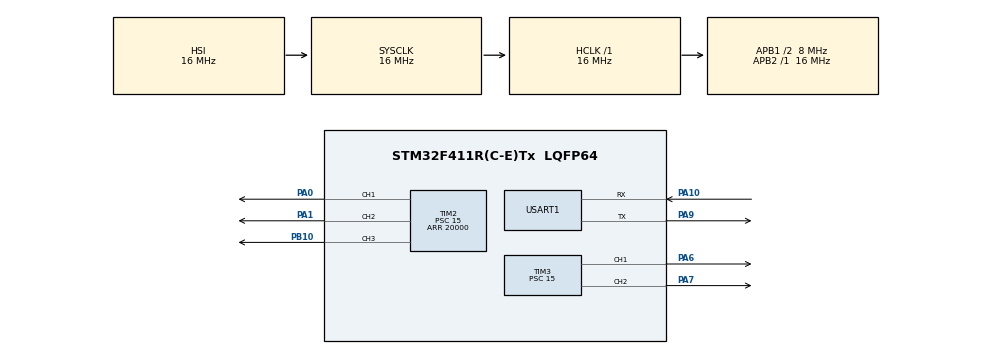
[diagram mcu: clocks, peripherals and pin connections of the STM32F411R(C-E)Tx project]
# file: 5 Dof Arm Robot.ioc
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Mcu.Family=STM32F4
Mcu.Name=STM32F411R(C-E)Tx
Mcu.Package=LQFP64
NVIC.PriorityGroup=NVIC_PRIORITYGROUP_0
NVIC.USART1_IRQn=true\:0\:0\:false\:false\:true\:true\:true\:true
PA0-WKUP.Signal=S_TIM2_CH1_ETR
PA1.Signal=S_TIM2_CH2
PA10.Mode=Asynchronous
PA10.Signal=USART1_RX
PA6.Signal=S_TIM3_CH1
PA7.Signal=S_TIM3_CH2
PA9.Mode=Asynchronous
PA9.Signal=USART1_TX
PB10.Signal=S_TIM2_CH3
ProjectManager.HeapSize=0x200
ProjectManager.StackSize=0x400
ProjectManager.TargetToolchain=STM32CubeIDE
RCC.48MHZClocksFreq_Value=84000000
RCC.AHBFreq_Value=16000000
RCC.APB1CLKDivider=RCC_HCLK_DIV2
RCC.APB1Freq_Value=8000000
RCC.APB1TimFreq_Value=16000000
RCC.APB2Freq_Value=16000000
RCC.APB2TimFreq_Value=16000000
RCC.CortexFreq_Value=16000000
RCC.FLatency-AdvancedSettings=FLASH_LATENCY_0
RCC.HCLKFreq_Value=16000000
RCC.HSE_VALUE=8000000
RCC.HSI_VALUE=16000000
RCC.PLLN=336
RCC.PLLP=RCC_PLLP_DIV4
RCC.SYSCLKFreq_VALUE=16000000
RCC.VCOOutputFreq_Value=336000000
SH.S_TIM2_CH1_ETR.0=TIM2_CH1,PWM Generation1 CH1
SH.S_TIM2_CH2.0=TIM2_CH2,PWM Generation2 CH2
SH.S_TIM2_CH3.0=TIM2_CH3,PWM Generation3 CH3
SH.S_TIM3_CH1.0=TIM3_CH1,PWM Generation1 CH1
SH.S_TIM3_CH2.0=TIM3_CH2,PWM Generation2 CH2
TIM2.Channel-PWM\ Generation1\ CH1=TIM_CHANNEL_1
TIM2.Channel-PWM\ Generation2\ CH2=TIM_CHANNEL_2
TIM2.Channel-PWM\ Generation3\ CH3=TIM_CHANNEL_3
TIM2.Period=20000
TIM2.Prescaler=15
TIM3.Channel-PWM\ Generation1\ CH1=TIM_CHANNEL_1
TIM3.Channel-PWM\ Generation2\ CH2=TIM_CHANNEL_2
TIM3.Period=20000
TIM3.Prescaler=15
USART1.VirtualMode=VM_ASYNC
VP_TIM2_VS_ClockSourceINT.Mode=Internal
board=NUCLEO-F411RE

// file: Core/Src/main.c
/* USER CODE BEGIN Header */
/**
  ******************************************************************************
  * @file           : main.c
  * @brief          : Main program body
  ******************************************************************************
  * @attention
  *
  * Copyright (c) 2026 STMicroelectronics.
  * All rights reserved.
  *
  * This software is licensed under terms that can be found in the LICENSE file
  * in the root directory of this software component.
  * If no LICENSE file comes with this software, it is provided AS-IS.
  *
  ******************************************************************************
  */
/* USER CODE END Header */
#include "main.h"
#include <stdlib.h>
#include <string.h>

TIM_HandleTypeDef htim2;
TIM_HandleTypeDef htim3;

UART_HandleTypeDef huart1;

void SystemClock_Config(void);
static void MX_GPIO_Init(void);
static void MX_TIM2_Init(void);
static void MX_TIM3_Init(void);
static void MX_USART1_UART_Init(void);

/* USER CODE BEGIN 0 */

uint8_t constrain_angle(uint8_t servo, uint8_t angle)
{
    switch(servo)
    {
        case 0: if(angle < 20) angle = 20; if(angle > 160) angle = 160; break;
        case 1: if(angle < 30) angle = 30; if(angle > 140) angle = 140; break;
        case 2: if(angle < 40) angle = 40; if(angle > 150) angle = 150; break;
        case 3: if(angle < 30) angle = 30; if(angle > 150) angle = 150; break;
        case 4: if(angle < 20) angle = 20; if(angle > 80)  angle = 80;  break;
    }
    return angle;
}
uint8_t rx_data;
char buffer[10];
int index_AJ = 0;
int servo_index = 0;
/* USER CODE END 0 */

int main(void)
{

  /* MCU Configuration--------------------------------------------------------*/

  /* Reset of all peripherals, Initializes the Flash interface and the Systick. */
  HAL_Init();

  /* Configure the system clock */
  SystemClock_Config();

  /* Initialize all configured peripherals */
  MX_GPIO_Init();
  MX_TIM2_Init();
  MX_TIM3_Init();
  MX_USART1_UART_Init();
  /* USER CODE BEGIN 2 */
  HAL_TIM_PWM_Start(&htim2, TIM_CHANNEL_1);
  HAL_TIM_PWM_Start(&htim2, TIM_CHANNEL_2);
  HAL_TIM_PWM_Start(&htim2, TIM_CHANNEL_3);
  HAL_TIM_PWM_Start(&htim3, TIM_CHANNEL_1);
  HAL_TIM_PWM_Start(&htim3, TIM_CHANNEL_2);

  // start UART interrupt
  HAL_UART_Receive_IT(&huart1, &rx_data, 1);
  /* USER CODE END 2 */

  /* Infinite loop */
  while (1)
  {

  }
}

void SystemClock_Config(void)
{
  RCC_OscInitTypeDef RCC_OscInitStruct = {0};
  RCC_ClkInitTypeDef RCC_ClkInitStruct = {0};

  /** Configure the main internal regulator output voltage
  */
  __HAL_RCC_PWR_CLK_ENABLE();
  __HAL_PWR_VOLTAGESCALING_CONFIG(PWR_REGULATOR_VOLTAGE_SCALE1);

  /** Initializes the RCC Oscillators according to the specified parameters
  * in the RCC_OscInitTypeDef structure.
  */
  RCC_OscInitStruct.OscillatorType = RCC_OSCILLATORTYPE_HSI;
  RCC_OscInitStruct.HSIState = RCC_HSI_ON;
  RCC_OscInitStruct.HSICalibrationValue = RCC_HSICALIBRATION_DEFAULT;
  RCC_OscInitStruct.PLL.PLLState = RCC_PLL_NONE;
  if (HAL_RCC_OscConfig(&RCC_OscInitStruct) != HAL_OK)
  {
    Error_Handler();
  }

  /** Initializes the CPU, AHB and APB buses clocks
  */
  RCC_ClkInitStruct.ClockType = RCC_CLOCKTYPE_HCLK|RCC_CLOCKTYPE_SYSCLK
                              |RCC_CLOCKTYPE_PCLK1|RCC_CLOCKTYPE_PCLK2;
  RCC_ClkInitStruct.SYSCLKSource = RCC_SYSCLKSOURCE_HSI;
  RCC_ClkInitStruct.AHBCLKDivider = RCC_SYSCLK_DIV1;
  RCC_ClkInitStruct.APB1CLKDivider = RCC_HCLK_DIV2;
  RCC_ClkInitStruct.APB2CLKDivider = RCC_HCLK_DIV1;

  if (HAL_RCC_ClockConfig(&RCC_ClkInitStruct, FLASH_LATENCY_0) != HAL_OK)
  {
    Error_Handler();
  }
}

static void MX_TIM2_Init(void)
{

  TIM_ClockConfigTypeDef sClockSourceConfig = {0};
  TIM_MasterConfigTypeDef sMasterConfig = {0};
  TIM_OC_InitTypeDef sConfigOC = {0};

  htim2.Instance = TIM2;
  htim2.Init.Prescaler = 15;
  htim2.Init.CounterMode = TIM_COUNTERMODE_UP;
  htim2.Init.Period = 20000;
  htim2.Init.ClockDivision = TIM_CLOCKDIVISION_DIV1;
  htim2.Init.AutoReloadPreload = TIM_AUTORELOAD_PRELOAD_DISABLE;
  if (HAL_TIM_Base_Init(&htim2) != HAL_OK)
  {
    Error_Handler();
  }
  sClockSourceConfig.ClockSource = TIM_CLOCKSOURCE_INTERNAL;
  if (HAL_TIM_ConfigClockSource(&htim2, &sClockSourceConfig) != HAL_OK)
  {
    Error_Handler();
  }
  if (HAL_TIM_PWM_Init(&htim2) != HAL_OK)
  {
    Error_Handler();
  }
  sMasterConfig.MasterOutputTrigger = TIM_TRGO_RESET;
  sMasterConfig.MasterSlaveMode = TIM_MASTERSLAVEMODE_DISABLE;
  if (HAL_TIMEx_MasterConfigSynchronization(&htim2, &sMasterConfig) != HAL_OK)
  {
    Error_Handler();
  }
  sConfigOC.OCMode = TIM_OCMODE_PWM1;
  sConfigOC.Pulse = 0;
  sConfigOC.OCPolarity = TIM_OCPOLARITY_HIGH;
  sConfigOC.OCFastMode = TIM_OCFAST_DISABLE;
  if (HAL_TIM_PWM_ConfigChannel(&htim2, &sConfigOC, TIM_CHANNEL_1) != HAL_OK)
  {
    Error_Handler();
  }
  if (HAL_TIM_PWM_ConfigChannel(&htim2, &sConfigOC, TIM_CHANNEL_2) != HAL_OK)
  {
    Error_Handler();
  }
  if (HAL_TIM_PWM_ConfigChannel(&htim2, &sConfigOC, TIM_CHANNEL_3) != HAL_OK)
  {
    Error_Handler();
  }
  HAL_TIM_MspPostInit(&htim2);

}

static void MX_TIM3_Init(void)
{

  TIM_MasterConfigTypeDef sMasterConfig = {0};
  TIM_OC_InitTypeDef sConfigOC = {0};

  htim3.Instance = TIM3;
  htim3.Init.Prescaler = 15;
  htim3.Init.CounterMode = TIM_COUNTERMODE_UP;
  htim3.Init.Period = 20000;
  htim3.Init.ClockDivision = TIM_CLOCKDIVISION_DIV1;
  htim3.Init.AutoReloadPreload = TIM_AUTORELOAD_PRELOAD_DISABLE;
  if (HAL_TIM_PWM_Init(&htim3) != HAL_OK)
  {
    Error_Handler();
  }
  sMasterConfig.MasterOutputTrigger = TIM_TRGO_RESET;
  sMasterConfig.MasterSlaveMode = TIM_MASTERSLAVEMODE_DISABLE;
  if (HAL_TIMEx_MasterConfigSynchronization(&htim3, &sMasterConfig) != HAL_OK)
  {
    Error_Handler();
  }
  sConfigOC.OCMode = TIM_OCMODE_PWM1;
  sConfigOC.Pulse = 0;
  sConfigOC.OCPolarity = TIM_OCPOLARITY_HIGH;
  sConfigOC.OCFastMode = TIM_OCFAST_DISABLE;
  if (HAL_TIM_PWM_ConfigChannel(&htim3, &sConfigOC, TIM_CHANNEL_1) != HAL_OK)
  {
    Error_Handler();
  }
  if (HAL_TIM_PWM_ConfigChannel(&htim3, &sConfigOC, TIM_CHANNEL_2) != HAL_OK)
  {
    Error_Handler();
  }
  HAL_TIM_MspPostInit(&htim3);

}

static void MX_USART1_UART_Init(void)
{

  huart1.Instance = USART1;
  huart1.Init.BaudRate = 115200;
  huart1.Init.WordLength = UART_WORDLENGTH_8B;
  huart1.Init.StopBits = UART_STOPBITS_1;
  huart1.Init.Parity = UART_PARITY_NONE;
  huart1.Init.Mode = UART_MODE_TX_RX;
  huart1.Init.HwFlowCtl = UART_HWCONTROL_NONE;
  huart1.Init.OverSampling = UART_OVERSAMPLING_16;
  if (HAL_UART_Init(&huart1) != HAL_OK)
  {
    Error_Handler();
  }

}

static void MX_GPIO_Init(void)
{

  /* GPIO Ports Clock Enable */
  __HAL_RCC_GPIOA_CLK_ENABLE();
  __HAL_RCC_GPIOB_CLK_ENABLE();

}

/* USER CODE BEGIN 4 */
void HAL_UART_RxCpltCallback(UART_HandleTypeDef *huart)
{
  if (huart->Instance == USART1)
  {
    HAL_GPIO_TogglePin(GPIOA, GPIO_PIN_5);

    if (rx_data != ',' && rx_data != '\n' && rx_data != '\r')
    {
      buffer[index_AJ++] = rx_data;

      if (index_AJ >= sizeof(buffer) - 1)
        index_AJ = 0;
    }
    else
    {
      buffer[index_AJ] = '\0';
      index_AJ = 0;

      if (buffer[0] != '\0')
      {
        int angle = atoi(buffer);

        if (buffer[0] != '\0')
        {
            // 🔥 LIMIT APPLIED HERE
            angle = constrain_angle(servo_index, angle);

            uint16_t pulse = 500 + (angle * 2000 / 180);

            switch (servo_index)
            {
                case 0: __HAL_TIM_SET_COMPARE(&htim2, TIM_CHANNEL_1, pulse); break;
                case 1: __HAL_TIM_SET_COMPARE(&htim2, TIM_CHANNEL_2, pulse); break;
                case 2: __HAL_TIM_SET_COMPARE(&htim2, TIM_CHANNEL_3, pulse); break;
                case 3: __HAL_TIM_SET_COMPARE(&htim3, TIM_CHANNEL_1, pulse); break;
                case 4: __HAL_TIM_SET_COMPARE(&htim3, TIM_CHANNEL_2, pulse); break;
            }
        }
      }

      if (rx_data == '\n')
      {
        servo_index = 0;
      }
      else
      {
        servo_index++;
        if (servo_index >= 5)
          servo_index = 0;
      }
    }

    HAL_UART_Receive_IT(&huart1, &rx_data, 1);
  }
}
/* USER CODE END 4 */

void Error_Handler(void)
{
  __disable_irq();
  while (1)
  {
  }
}
